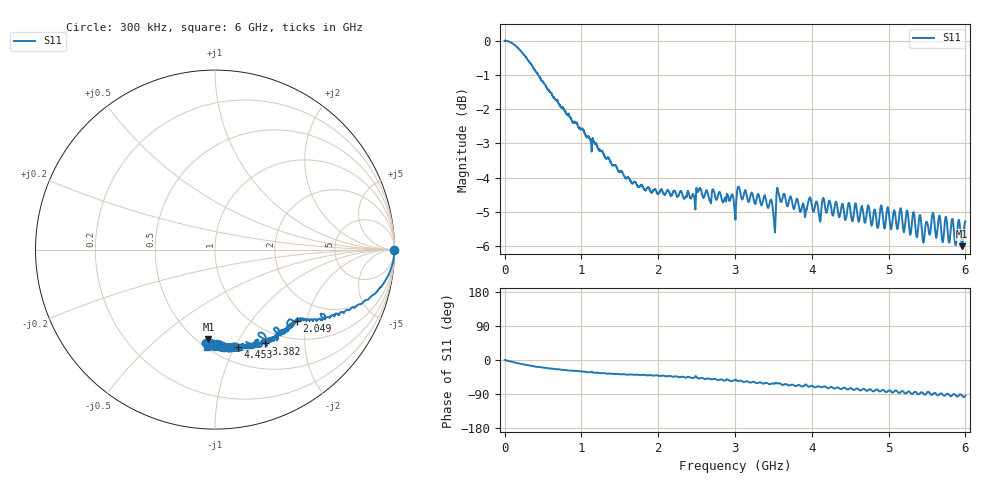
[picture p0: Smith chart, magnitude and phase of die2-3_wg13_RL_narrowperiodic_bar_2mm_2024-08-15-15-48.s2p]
!Keysight Technologies,P9374A,MY57304198,A.17.20.09
!Date: Thursday, August 15, 2024 15:48:45
!Correction: S11(C  1-Port  )
!S21(C  1-Port  )
!S12(Off)
!S22(Off)
!S2P File: Measurements: S11, S21, S12, S22:
# Hz S  dB  R 50
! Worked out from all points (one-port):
!   6000 points, 300 kHz to 6 GHz, reference 50 ohm
!   lowest |S11| = -6.0 dB at 5.957 GHz (marker M1), VSWR 3.01, Z = 28.3 - j37.8 ohm
!   |S11| at or under -10 dB: nowhere
!   S11 on the Smith chart (normalised r, x): 300 kHz: open; 2.049 GHz: 1.39, -1.75; 3.382 GHz: 0.82, -1.32; 4.453 GHz: 0.66, -1.02; 6 GHz: 0.51, -0.79
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300000  -0.00 -0.0  -200.00 45.0  -200.00 45.0  -200.00 45.0
2.393279e8  -0.38 -11.5  -200.00 45.0  -200.00 45.0  -200.00 45.0
4.11348e8  -0.92 -17.8  -200.00 45.0  -200.00 45.0  -200.00 45.0
1.000417e9  -2.58 -30.6  -200.00 45.0  -200.00 45.0  -200.00 45.0
1.498475e9  -3.83 -37.8  -200.00 45.0  -200.00 45.0  -200.00 45.0
2.000533e9  -4.45 -41.2  -200.00 45.0  -200.00 45.0  -200.00 45.0
2.048539e9  -4.36 -41.3  -200.00 45.0  -200.00 45.0  -200.00 45.0
2.950644e9  -4.53 -55.8  -200.00 45.0  -200.00 45.0  -200.00 45.0
3.00065e9  -5.05 -53.6  -200.00 45.0  -200.00 45.0  -200.00 45.0
3.051656e9  -4.28 -55.3  -200.00 45.0  -200.00 45.0  -200.00 45.0
3.381695e9  -4.53 -61.8  -200.00 45.0  -200.00 45.0  -200.00 45.0
3.507709e9  -5.23 -62.6  -200.00 45.0  -200.00 45.0  -200.00 45.0
3.559715e9  -4.37 -62.0  -200.00 45.0  -200.00 45.0  -200.00 45.0
3.627723e9  -4.51 -65.7  -200.00 45.0  -200.00 45.0  -200.00 45.0
4.000767e9  -4.81 -68.1  -200.00 45.0  -200.00 45.0  -200.00 45.0
4.452819e9  -5.12 -76.8  -200.00 45.0  -200.00 45.0  -200.00 45.0
5.000883e9  -4.97 -80.5  -200.00 45.0  -200.00 45.0  -200.00 45.0
5.303919e9  -5.32 -89.6  -200.00 45.0  -200.00 45.0  -200.00 45.0
5.515944e9  -5.44 -83.5  -200.00 45.0  -200.00 45.0  -200.00 45.0
5.640958e9  -5.41 -93.6  -200.00 45.0  -200.00 45.0  -200.00 45.0
5.956995e9  -6.00 -94.2  -200.00 45.0  -200.00 45.0  -200.00 45.0
6e9  -5.28 -94.4  -200.00 45.0  -200.00 45.0  -200.00 45.0
